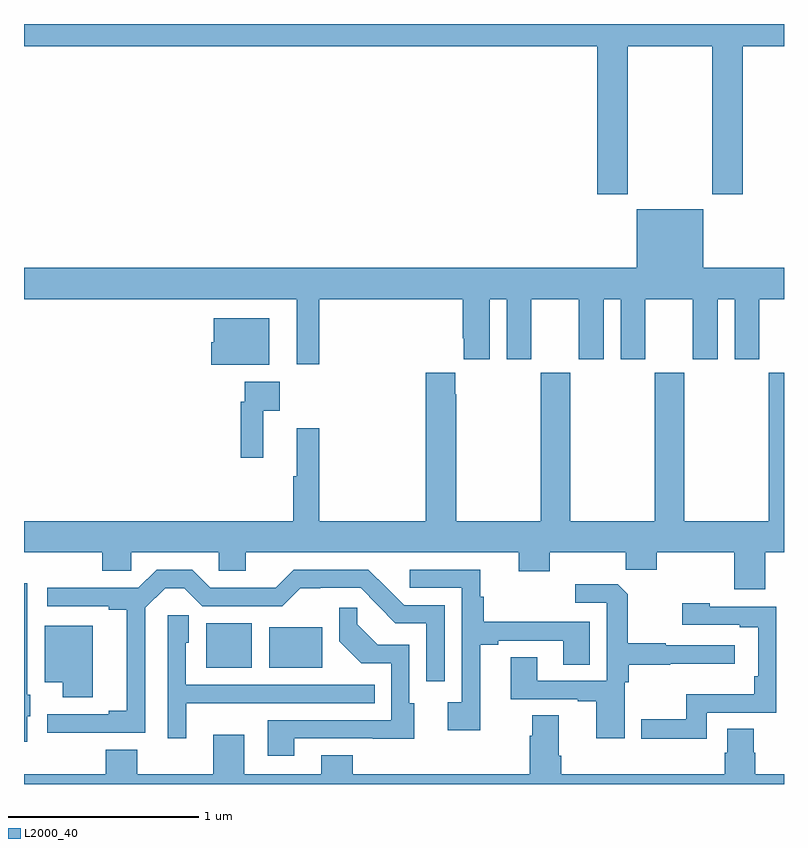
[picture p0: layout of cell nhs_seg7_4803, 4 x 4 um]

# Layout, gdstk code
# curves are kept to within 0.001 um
import gdstk
lib = gdstk.Library(unit=1e-6, precision=1e-09)
def R(c, l, rs):  # rectangles x0, y0, x1, y1
    for r in rs: c.add(gdstk.rectangle(r[:2], r[2:], *l))
def P(c, l, *ps):  # polygons
    for p in ps: c.add(gdstk.Polygon(p, *l))
L2000_40 = (2000, 40)

nhs_seg7_4803 = lib.new_cell('nhs_seg7_4803')
R(nhs_seg7_4803, L2000_40, [(411.959,1062.611,412.198,1062.847), (412.292,1062.611,412.57,1062.826)])
P(nhs_seg7_4803, L2000_40, [(414.177,1065.884),(414.622,1065.884),(414.622,1065.105),(414.782,1065.105),(414.782,1065.884),(415,1065.884),(415,1066),(411,1066),(411,1065.884),(414.017,1065.884),(414.017,1065.105),(414.177,1065.105)],
  [(412.553,1064.552),(413.309,1064.552),(413.309,1064.347),(413.315,1064.347),(413.315,1064.235),(413.452,1064.235),(413.452,1064.552),(413.54,1064.552),(413.54,1064.235),(413.671,1064.235),(413.671,1064.552),(413.921,1064.552),(413.921,1064.235),(414.052,1064.235),(414.052,1064.552),(414.14,1064.552),(414.14,1064.235),(414.271,1064.235),(414.271,1064.552),(414.521,1064.552),(414.521,1064.235),(414.652,1064.235),(414.652,1064.552),(414.74,1064.552),(414.74,1064.235),(414.871,1064.235),(414.871,1064.552),(415,1064.552),(415,1064.716),(414.574,1064.716),(414.574,1065.025),(414.224,1065.025),(414.224,1064.716),(411,1064.716),(411,1064.552),(412.436,1064.552),(412.436,1064.208),(412.553,1064.208)],
  [(412.291,1064.452),(411.998,1064.452),(411.998,1064.325),(411.986,1064.325),(411.986,1064.207),(412.291,1064.207)],
  [(414.901,1063.22),(415,1063.22),(415,1064.164),(414.919,1064.164),(414.919,1063.384),(414.474,1063.384),(414.474,1064.164),(414.319,1064.164),(414.319,1063.384),(413.874,1063.384),(413.874,1064.164),(413.719,1064.164),(413.719,1063.384),(413.274,1063.384),(413.274,1064.051),(413.269,1064.051),(413.269,1064.164),(413.114,1064.164),(413.114,1063.384),(412.553,1063.384),(412.553,1063.873),(412.436,1063.873),(412.436,1063.62),(412.417,1063.62),(412.417,1063.384),(411,1063.384),(411,1063.22),(411.413,1063.22),(411.413,1063.122),(411.564,1063.122),(411.564,1063.22),(412.026,1063.22),(412.026,1063.122),(412.168,1063.122),(412.168,1063.22),(413.603,1063.22),(413.603,1063.121),(413.767,1063.121),(413.767,1063.22),(414.167,1063.22),(414.167,1063.127),(414.331,1063.127),(414.331,1063.22),(414.737,1063.22),(414.737,1063.026),(414.901,1063.026)],
  [(412.259,1063.964),(412.345,1063.964),(412.345,1064.116),(412.161,1064.116),(412.161,1064.012),(412.141,1064.012),(412.141,1063.716),(412.259,1063.716)],
  [(411.335,1062.27),(411.639,1062.27),(411.639,1062.927),(411.743,1063.031),(411.844,1063.031),(411.939,1062.936),(412.359,1062.936),(412.454,1063.031),(412.773,1063.032),(412.863,1062.942),(412.861,1062.94),(412.955,1062.846),(413.118,1062.846),(413.118,1062.54),(413.214,1062.54),(413.214,1062.942),(413.001,1062.942),(412.813,1063.128),(412.419,1063.128),(412.325,1063.034),(412.22,1063.034),(412.22,1063.032),(411.981,1063.032),(411.885,1063.128),(411.698,1063.128),(411.602,1063.032),(411.369,1063.032),(411.369,1063.034),(411.123,1063.034),(411.123,1062.936),(411.446,1062.936),(411.446,1062.916),(411.542,1062.916),(411.542,1062.386),(411.446,1062.386),(411.446,1062.366),(411.123,1062.366),(411.123,1062.269)],
  [(413.401,1062.733),(413.497,1062.733),(413.497,1062.753),(413.837,1062.753),(413.837,1062.628),(413.977,1062.628),(413.977,1062.854),(413.42,1062.854),(413.42,1062.986),(413.402,1062.986),(413.402,1063.128),(413.031,1063.128),(413.031,1063.032),(413.304,1063.032),(413.304,1062.43),(413.229,1062.43),(413.229,1062.282),(413.401,1062.282)],
  [(411.016,1062.357),(411.034,1062.357),(411.034,1062.471),(411.016,1062.471),(411.016,1063.057),(411,1063.057),(411,1062.222),(411.016,1062.222)],
  [(414.162,1062.536),(414.182,1062.536),(414.182,1062.628),(414.401,1062.628),(414.401,1062.632),(414.742,1062.632),(414.742,1062.729),(414.377,1062.729),(414.377,1062.742),(414.177,1062.742),(414.177,1062.999),(414.125,1063.051),(413.901,1063.051),(413.901,1062.954),(414.066,1062.954),(414.066,1062.543),(413.701,1062.543),(413.701,1062.668),(413.561,1062.668),(413.561,1062.447),(413.915,1062.447),(413.915,1062.435),(414.011,1062.435),(414.011,1062.24),(414.162,1062.24)],
  [(414.594,1062.375),(414.96,1062.375),(414.96,1062.933),(414.609,1062.933),(414.609,1062.952),(414.465,1062.952),(414.465,1062.837),(414.767,1062.837),(414.767,1062.825),(414.864,1062.825),(414.864,1062.568),(414.844,1062.568),(414.844,1062.472),(414.486,1062.472),(414.486,1062.341),(414.249,1062.341),(414.249,1062.239),(414.594,1062.239)],
  [(412.423,1062.24),(413.053,1062.239),(413.053,1062.426),(413.028,1062.426),(413.028,1062.732),(412.862,1062.732),(412.754,1062.84),(412.754,1062.928),(412.659,1062.928),(412.659,1062.752),(412.775,1062.636),(412.932,1062.636),(412.932,1062.336),(412.283,1062.336),(412.283,1062.15),(412.423,1062.15)],
  [(411.853,1062.425),(412.187,1062.425),(412.187,1062.426),(412.847,1062.426),(412.847,1062.522),(411.852,1062.522),(411.852,1062.744),(411.868,1062.744),(411.868,1062.887),(411.756,1062.887),(411.756,1062.24),(411.853,1062.24)],
  [(411.361,1062.832),(411.11,1062.832),(411.11,1062.536),(411.203,1062.536),(411.203,1062.456),(411.361,1062.456)],
  [(415,1062.052),(414.849,1062.052),(414.849,1062.165),(414.841,1062.165),(414.841,1062.29),(414.701,1062.29),(414.701,1062.165),(414.689,1062.165),(414.689,1062.052),(413.828,1062.052),(413.828,1062.148),(413.815,1062.148),(413.815,1062.362),(413.675,1062.362),(413.675,1062.254),(413.663,1062.254),(413.663,1062.052),(412.729,1062.052),(412.729,1062.151),(412.565,1062.151),(412.565,1062.052),(412.159,1062.052),(412.159,1062.259),(411.995,1062.259),(411.995,1062.052),(411.595,1062.052),(411.595,1062.181),(411.431,1062.181),(411.431,1062.052),(411,1062.052),(411,1062),(415,1062)])

lib.write_gds('nhs_seg7_4803.gds')
